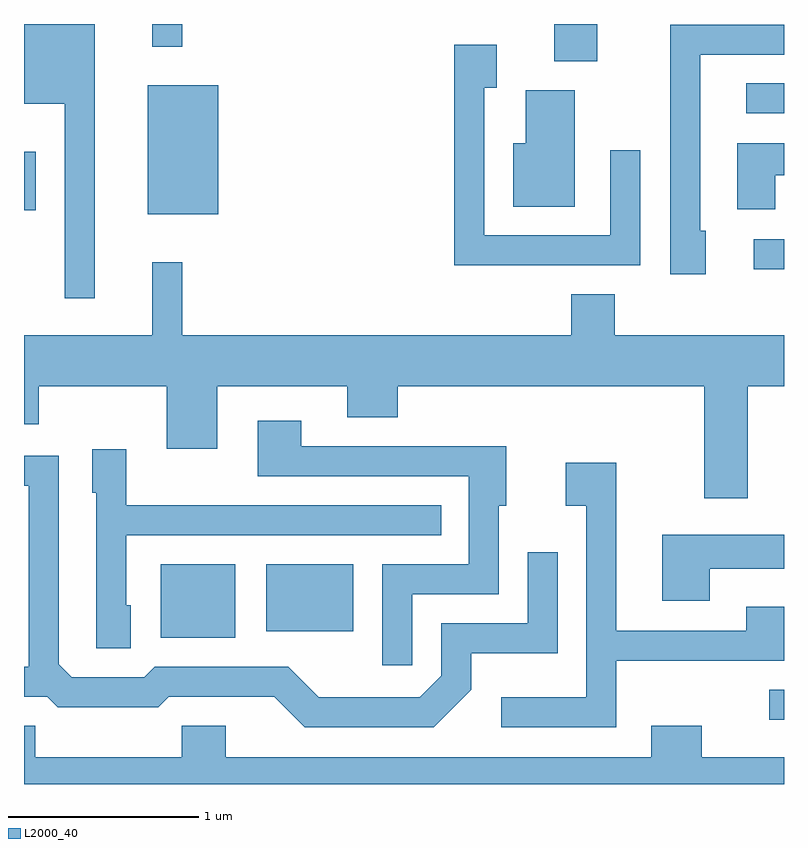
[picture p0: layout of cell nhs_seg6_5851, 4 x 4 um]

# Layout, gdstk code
import gdstk
lib = gdstk.Library(unit=1e-6, precision=1e-09)
def R(c, l, rs):  # rectangles x0, y0, x1, y1
    for r in rs: c.add(gdstk.rectangle(r[:2], r[2:], *l))
def P(c, l, *ps):  # polygons
    for p in ps: c.add(gdstk.Polygon(p, *l))
L2000_40 = (2000, 40)

nhs_seg6_5851 = lib.new_cell('nhs_seg6_5851')
R(nhs_seg6_5851, L2000_40, [(367.533,1550.501,367.611,1550.659), (364.331,1550.931,364.724,1551.319), (364.886,1550.966,365.344,1551.319), (367.453,1552.871,367.611,1553.029), (364.261,1553.161,364.634,1553.839), (363.611,1553.181,363.674,1553.489), (367.413,1553.691,367.611,1553.849), (366.401,1553.966,366.629,1554.162), (364.286,1554.043,364.444,1554.162)])
P(nhs_seg6_5851, L2000_40, [(363.984,1554.162),(363.611,1554.162),(363.611,1553.741),(363.826,1553.741),(363.826,1552.718),(363.984,1552.718)],
  [(367.199,1553.074),(367.169,1553.074),(367.169,1554.001),(367.611,1554.001),(367.611,1554.159),(367.011,1554.159),(367.011,1552.846),(367.199,1552.846)],
  [(366.854,1553.498),(366.696,1553.498),(366.696,1553.049),(366.034,1553.049),(366.034,1553.826),(366.099,1553.826),(366.099,1554.054),(365.876,1554.054),(365.876,1552.891),(366.854,1552.891)],
  [(366.509,1553.814),(366.251,1553.814),(366.251,1553.534),(366.186,1553.534),(366.186,1553.201),(366.509,1553.201)],
  [(367.564,1553.366),(367.611,1553.366),(367.611,1553.534),(367.366,1553.534),(367.366,1553.186),(367.564,1553.186)],
  [(367.419,1552.256),(367.611,1552.256),(367.611,1552.524),(366.719,1552.524),(366.719,1552.739),(366.491,1552.739),(366.491,1552.524),(364.444,1552.524),(364.444,1552.908),(364.286,1552.908),(364.286,1552.524),(363.611,1552.524),(363.611,1552.056),(363.689,1552.056),(363.689,1552.256),(364.361,1552.256),(364.361,1551.926),(364.629,1551.926),(364.629,1552.256),(365.311,1552.256),(365.311,1552.091),(365.579,1552.091),(365.579,1552.256),(367.191,1552.256),(367.191,1551.666),(367.419,1551.666)],
  [(365.654,1551.161),(366.109,1551.161),(366.109,1551.626),(366.149,1551.626),(366.149,1551.939),(365.069,1551.939),(365.069,1552.074),(364.841,1552.074),(364.841,1551.781),(365.951,1551.781),(365.951,1551.319),(365.496,1551.319),(365.496,1550.788),(365.654,1550.788)],
  [(364.174,1551.104),(364.149,1551.104),(364.149,1551.471),(365.808,1551.471),(365.808,1551.629),(364.149,1551.629),(364.149,1551.924),(363.971,1551.924),(363.971,1551.696),(363.991,1551.696),(363.991,1550.876),(364.174,1550.876)],
  [(365.964,1550.659),(365.964,1550.851),(366.419,1550.851),(366.419,1551.383),(366.261,1551.383),(366.261,1551.009),(365.806,1551.009),(365.806,1550.732),(365.694,1550.619),(365.162,1550.619),(365.002,1550.779),(364.299,1550.779),(364.244,1550.724),(363.862,1550.724),(363.794,1550.792),(363.794,1551.889),(363.611,1551.889),(363.611,1551.731),(363.636,1551.731),(363.636,1550.779),(363.611,1550.779),(363.611,1550.621),(363.734,1550.621),(363.789,1550.566),(364.317,1550.566),(364.372,1550.621),(364.929,1550.621),(365.089,1550.461),(365.767,1550.461)],
  [(366.729,1550.811),(367.611,1550.811),(367.611,1551.094),(367.411,1551.094),(367.411,1550.969),(366.729,1550.969),(366.729,1551.854),(366.461,1551.854),(366.461,1551.626),(366.571,1551.626),(366.571,1550.619),(366.123,1550.619),(366.123,1550.461),(366.729,1550.461)],
  [(367.219,1551.296),(367.611,1551.296),(367.611,1551.474),(366.971,1551.474),(366.971,1551.126),(367.219,1551.126)],
  [(367.611,1550.304),(367.179,1550.304),(367.179,1550.469),(366.911,1550.469),(366.911,1550.304),(364.674,1550.304),(364.674,1550.469),(364.441,1550.469),(364.441,1550.304),(363.669,1550.304),(363.669,1550.469),(363.611,1550.469),(363.611,1550.162),(367.611,1550.162)])

lib.write_gds('nhs_seg6_5851.gds')
